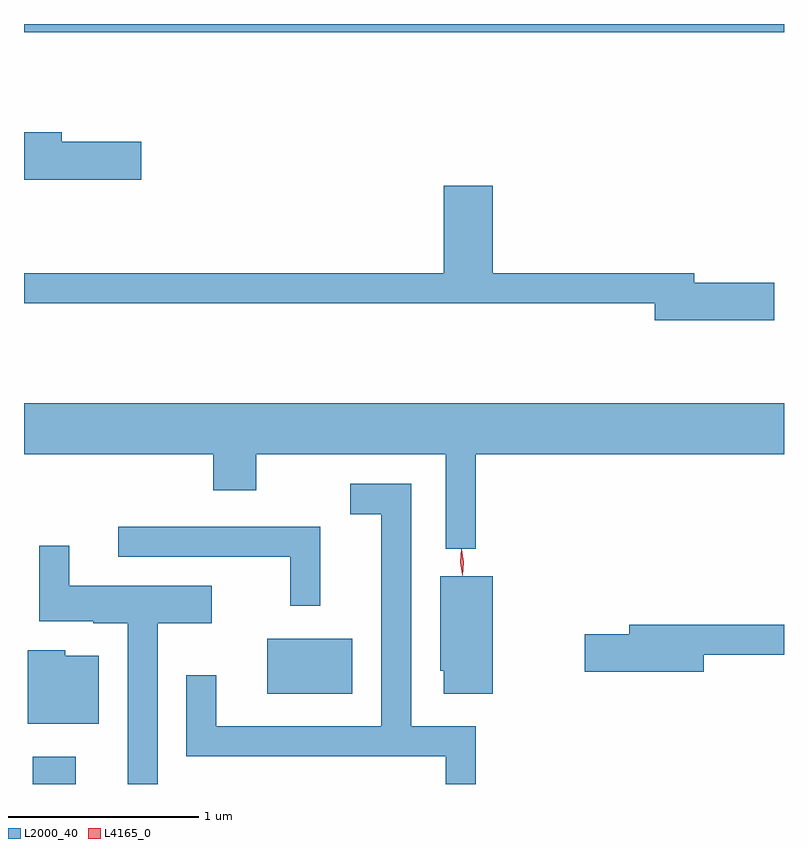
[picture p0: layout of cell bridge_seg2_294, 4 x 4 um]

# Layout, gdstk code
import gdstk
lib = gdstk.Library(unit=1e-6, precision=1e-09)
def R(c, l, rs):  # rectangles x0, y0, x1, y1
    for r in rs: c.add(gdstk.rectangle(r[:2], r[2:], *l))
def P(c, l, *ps):  # polygons
    for p in ps: c.add(gdstk.Polygon(p, *l))
L2000_40 = (2000, 40)
L4165_0 = (4165, 0)

bridge_seg2_294 = lib.new_cell('bridge_seg2_294')
R(bridge_seg2_294, L2000_40, [(428.071,1095.42,428.299,1095.564), (429.306,1095.896,429.754,1096.184), (428.026,1099.376,432.026,1099.42)])
P(bridge_seg2_294, L2000_40, [(428.644,1098.799),(428.224,1098.799),(428.224,1098.849),(428.026,1098.849),(428.026,1098.601),(428.644,1098.601)],
  [(431.974,1098.059),(431.554,1098.059),(431.554,1098.109),(430.494,1098.109),(430.494,1098.569),(430.236,1098.569),(430.236,1098.109),(428.026,1098.109),(428.026,1097.951),(431.346,1097.951),(431.346,1097.861),(431.974,1097.861)],
  [(430.404,1097.156),(432.026,1097.156),(432.026,1097.424),(428.026,1097.424),(428.026,1097.156),(429.021,1097.156),(429.021,1096.966),(429.249,1096.966),(429.249,1097.156),(430.246,1097.156),(430.246,1096.658),(430.404,1096.658)],
  [(430.404,1095.724),(430.064,1095.724),(430.064,1096.999),(429.743,1096.999),(429.743,1096.841),(429.906,1096.841),(429.906,1095.724),(429.039,1095.724),(429.039,1095.993),(428.881,1095.993),(428.881,1095.566),(430.246,1095.566),(430.246,1095.42),(430.404,1095.42)],
  [(429.584,1096.774),(428.523,1096.774),(428.523,1096.616),(429.426,1096.616),(429.426,1096.358),(429.584,1096.358)],
  [(428.729,1096.266),(429.014,1096.266),(429.014,1096.464),(428.264,1096.464),(428.264,1096.673),(428.106,1096.673),(428.106,1096.276),(428.39,1096.276),(428.39,1096.266),(428.571,1096.266),(428.571,1095.42),(428.729,1095.42)],
  [(430.494,1096.514),(430.216,1096.514),(430.216,1096.016),(430.236,1096.016),(430.236,1095.896),(430.494,1095.896)],
  [(431.604,1096.101),(432.026,1096.101),(432.026,1096.259),(431.211,1096.259),(431.211,1096.209),(430.976,1096.209),(430.976,1096.011),(431.604,1096.011)],
  [(428.419,1096.094),(428.244,1096.094),(428.244,1096.124),(428.046,1096.124),(428.046,1095.736),(428.419,1095.736)])
P(bridge_seg2_294, L4165_0, [(430.334,1096.518),(430.322,1096.586),(430.328,1096.655),(430.328,1096.655),(430.329,1096.655),(430.341,1096.587),(430.336,1096.518),(430.335,1096.518)],
  [(430.333,1096.52),(430.333,1096.521),(430.321,1096.586),(430.328,1096.651),(430.328,1096.652),(430.329,1096.651),(430.341,1096.587),(430.334,1096.521)])

lib.write_gds('bridge_seg2_294.gds')
